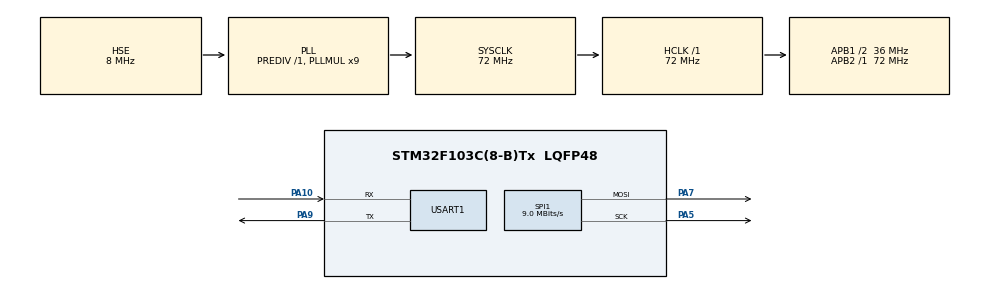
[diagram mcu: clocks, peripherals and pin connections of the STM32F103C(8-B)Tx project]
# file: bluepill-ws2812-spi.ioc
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Dma.Request0=SPI1_TX
Dma.SPI1_TX.0.Direction=DMA_MEMORY_TO_PERIPH
Dma.SPI1_TX.0.Instance=DMA1_Channel3
Dma.SPI1_TX.0.MemDataAlignment=DMA_MDATAALIGN_BYTE
Dma.SPI1_TX.0.MemInc=DMA_MINC_ENABLE
Dma.SPI1_TX.0.Mode=DMA_NORMAL
Dma.SPI1_TX.0.PeriphDataAlignment=DMA_PDATAALIGN_BYTE
Dma.SPI1_TX.0.PeriphInc=DMA_PINC_DISABLE
Dma.SPI1_TX.0.Priority=DMA_PRIORITY_LOW
Mcu.Family=STM32F1
Mcu.Name=STM32F103C(8-B)Tx
Mcu.Package=LQFP48
NVIC.DMA1_Channel3_IRQn=true\:0\:0\:false\:false\:true\:false\:true
NVIC.PriorityGroup=NVIC_PRIORITYGROUP_4
NVIC.SPI1_IRQn=true\:0\:0\:false\:false\:true\:true\:true
PA10.Mode=Asynchronous
PA10.Signal=USART1_RX
PA5.Mode=TX_Only_Simplex_Unidirect_Master
PA5.Signal=SPI1_SCK
PA7.Mode=TX_Only_Simplex_Unidirect_Master
PA7.Signal=SPI1_MOSI
PA9.Mode=Asynchronous
PA9.Signal=USART1_TX
PD0-OSC_IN.Mode=HSE-External-Oscillator
PD0-OSC_IN.Signal=RCC_OSC_IN
PD1-OSC_OUT.Mode=HSE-External-Oscillator
PD1-OSC_OUT.Signal=RCC_OSC_OUT
ProjectManager.HeapSize=0x200
ProjectManager.StackSize=0x400
ProjectManager.TargetToolchain=STM32CubeIDE
RCC.AHBFreq_Value=72000000
RCC.APB1CLKDivider=RCC_HCLK_DIV2
RCC.APB1Freq_Value=36000000
RCC.APB1TimFreq_Value=72000000
RCC.APB2Freq_Value=72000000
RCC.APB2TimFreq_Value=72000000
RCC.HCLKFreq_Value=72000000
RCC.PLLMUL=RCC_PLL_MUL9
RCC.PLLSourceVirtual=RCC_PLLSOURCE_HSE
RCC.SYSCLKFreq_VALUE=72000000
RCC.SYSCLKSource=RCC_SYSCLKSOURCE_PLLCLK
RCC.USBFreq_Value=72000000
SPI1.BaudRatePrescaler=SPI_BAUDRATEPRESCALER_8
SPI1.CalculateBaudRate=9.0 MBits/s
SPI1.Direction=SPI_DIRECTION_2LINES
SPI1.FirstBit=SPI_FIRSTBIT_MSB
SPI1.Mode=SPI_MODE_MASTER
SPI1.VirtualType=VM_MASTER
USART1.VirtualMode=VM_ASYNC
VP_SYS_VS_ND.Mode=No_Debug
board=custom

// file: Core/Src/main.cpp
/* USER CODE BEGIN Header */
/**
  ******************************************************************************
  * @file           : main.c
  * @brief          : Main program body
  ******************************************************************************
  * @attention
  *
  * <h2><center>&copy; Copyright (c) 2022 STMicroelectronics.
  * All rights reserved.</center></h2>
  *
  * This software component is licensed by ST under BSD 3-Clause license,
  * the "License"; You may not use this file except in compliance with the
  * License. You may obtain a copy of the License at:
  *                        opensource.org/licenses/BSD-3-Clause
  *
  ******************************************************************************
  */
/* USER CODE END Header */
#include "main.h"

/* USER CODE BEGIN Includes */
#include "stdio.h"
#include "string.h"
#include <functional> // bind

#include "WS2812.h"
#include <RGB.h>
#include <Array>

/* USER CODE END Includes */

/* USER CODE BEGIN PD */
#define numleds 60

/* USER CODE END PD */

SPI_HandleTypeDef hspi1;
DMA_HandleTypeDef hdma_spi1_tx;

UART_HandleTypeDef huart1;

/* USER CODE BEGIN PV */

std::array<RGB_t<uint8_t>, 6> rainbow;

//
// USER: change the binding to pass a std::function<void(uint8_t*data, uint32_t length)> to the constructor that writes on the SPI.
// you can use a lambda function as well as std::bind
// examples:
// regular bind
// std::function<void(uint8_t* data, uint32_t length)> spiwrite = std::bind(&HAL_SPI_Transmit, &hspi1, std::placeholders::_1 , std::placeholders::_2, 100);
// lambda function
// std::function<void(uint8_t*data, uint32_t length)> spiwrite = [] (uint8_t* data, uint32_t length) {HAL_SPI_Transmit(&hspi1, data, length, 100);};
 // DMA bind
 std::function<void(uint8_t* data, uint32_t length)> spiwrite = std::bind(&HAL_SPI_Transmit_DMA, &hspi1, std::placeholders::_1 , std::placeholders::_2);

WS2812<numleds> leds(spiwrite);

const RGB_t<uint8_t>	violet	( 75,   0, 130);
const RGB_t<uint8_t>	blue	  (  0,   0, 255);
const RGB_t<uint8_t>	green	  (  0, 255,   0);
const RGB_t<uint8_t>	yellow	(127, 255,   0);
const RGB_t<uint8_t>	orange	(255,  50,   0);
const RGB_t<uint8_t>	red		  (255,   0,   0);

/* USER CODE END PV */

void SystemClock_Config(void);
static void MX_GPIO_Init(void);
static void MX_SPI1_Init(void);
static void MX_DMA_Init(void);
static void MX_USART1_UART_Init(void);

int main(void)
{
  /* USER CODE BEGIN 1 */
    rainbow[0] = violet;
    rainbow[1] = blue;
    rainbow[2] = green;
    rainbow[3] = yellow;
    rainbow[4] = orange;
    rainbow[5] = red;

  /* USER CODE END 1 */

  /* MCU Configuration--------------------------------------------------------*/

  /* Reset of all peripherals, Initializes the Flash interface and the Systick. */
  HAL_Init();

  /* Configure the system clock */
  SystemClock_Config();

  /* USER CODE BEGIN SysInit */
  MX_DMA_Init();

  /* USER CODE END SysInit */

  /* Initialize all configured peripherals */
  MX_GPIO_Init();
  MX_SPI1_Init();
  MX_DMA_Init();
  MX_USART1_UART_Init();

  /* Infinite loop */
  /* USER CODE BEGIN WHILE */
  while (1)
  {
	  for(int i = 6; i >0 ; i--){

      for(int j = 0; j < numleds; j++){
        leds.setPixel(j, rainbow[(j+i)%6]);
      }
		  leds.show();
		  HAL_Delay(50);

		}

    /* USER CODE END WHILE */

  }
}

void SystemClock_Config(void)
{
  RCC_OscInitTypeDef RCC_OscInitStruct = {0};
  RCC_ClkInitTypeDef RCC_ClkInitStruct = {0};

  /** Initializes the RCC Oscillators according to the specified parameters
  * in the RCC_OscInitTypeDef structure.
  */
  RCC_OscInitStruct.OscillatorType = RCC_OSCILLATORTYPE_HSE;
  RCC_OscInitStruct.HSEState = RCC_HSE_ON;
  RCC_OscInitStruct.HSEPredivValue = RCC_HSE_PREDIV_DIV1;
  RCC_OscInitStruct.HSIState = RCC_HSI_ON;
  RCC_OscInitStruct.PLL.PLLState = RCC_PLL_ON;
  RCC_OscInitStruct.PLL.PLLSource = RCC_PLLSOURCE_HSE;
  RCC_OscInitStruct.PLL.PLLMUL = RCC_PLL_MUL9;
  if (HAL_RCC_OscConfig(&RCC_OscInitStruct) != HAL_OK)
  {
    Error_Handler();
  }
  /** Initializes the CPU, AHB and APB buses clocks
  */
  RCC_ClkInitStruct.ClockType = RCC_CLOCKTYPE_HCLK|RCC_CLOCKTYPE_SYSCLK
                              |RCC_CLOCKTYPE_PCLK1|RCC_CLOCKTYPE_PCLK2;
  RCC_ClkInitStruct.SYSCLKSource = RCC_SYSCLKSOURCE_PLLCLK;
  RCC_ClkInitStruct.AHBCLKDivider = RCC_SYSCLK_DIV1;
  RCC_ClkInitStruct.APB1CLKDivider = RCC_HCLK_DIV2;
  RCC_ClkInitStruct.APB2CLKDivider = RCC_HCLK_DIV1;

  if (HAL_RCC_ClockConfig(&RCC_ClkInitStruct, FLASH_LATENCY_2) != HAL_OK)
  {
    Error_Handler();
  }
}

static void MX_SPI1_Init(void)
{

  /* SPI1 parameter configuration*/
  hspi1.Instance = SPI1;
  hspi1.Init.Mode = SPI_MODE_MASTER;
  hspi1.Init.Direction = SPI_DIRECTION_2LINES;
  hspi1.Init.DataSize = SPI_DATASIZE_8BIT;
  hspi1.Init.CLKPolarity = SPI_POLARITY_LOW;
  hspi1.Init.CLKPhase = SPI_PHASE_1EDGE;
  hspi1.Init.NSS = SPI_NSS_SOFT;
  hspi1.Init.BaudRatePrescaler = SPI_BAUDRATEPRESCALER_8;
  hspi1.Init.FirstBit = SPI_FIRSTBIT_MSB;
  hspi1.Init.TIMode = SPI_TIMODE_DISABLE;
  hspi1.Init.CRCCalculation = SPI_CRCCALCULATION_DISABLE;
  hspi1.Init.CRCPolynomial = 10;
  if (HAL_SPI_Init(&hspi1) != HAL_OK)
  {
    Error_Handler();
  }

}

static void MX_USART1_UART_Init(void)
{

  huart1.Instance = USART1;
  huart1.Init.BaudRate = 115200;
  huart1.Init.WordLength = UART_WORDLENGTH_8B;
  huart1.Init.StopBits = UART_STOPBITS_1;
  huart1.Init.Parity = UART_PARITY_NONE;
  huart1.Init.Mode = UART_MODE_TX_RX;
  huart1.Init.HwFlowCtl = UART_HWCONTROL_NONE;
  huart1.Init.OverSampling = UART_OVERSAMPLING_16;
  if (HAL_UART_Init(&huart1) != HAL_OK)
  {
    Error_Handler();
  }

}

static void MX_DMA_Init(void)
{

  /* DMA controller clock enable */
  __HAL_RCC_DMA1_CLK_ENABLE();

  /* DMA interrupt init */
  /* DMA1_Channel3_IRQn interrupt configuration */
  HAL_NVIC_SetPriority(DMA1_Channel3_IRQn, 0, 0);
  HAL_NVIC_EnableIRQ(DMA1_Channel3_IRQn);

}

static void MX_GPIO_Init(void)
{

  /* GPIO Ports Clock Enable */
  __HAL_RCC_GPIOD_CLK_ENABLE();
  __HAL_RCC_GPIOA_CLK_ENABLE();

}

void Error_Handler(void)
{
  __disable_irq();
  while (1)
  {
  }
}

/************************ (C) COPYRIGHT STMicroelectronics *****END OF FILE****/
